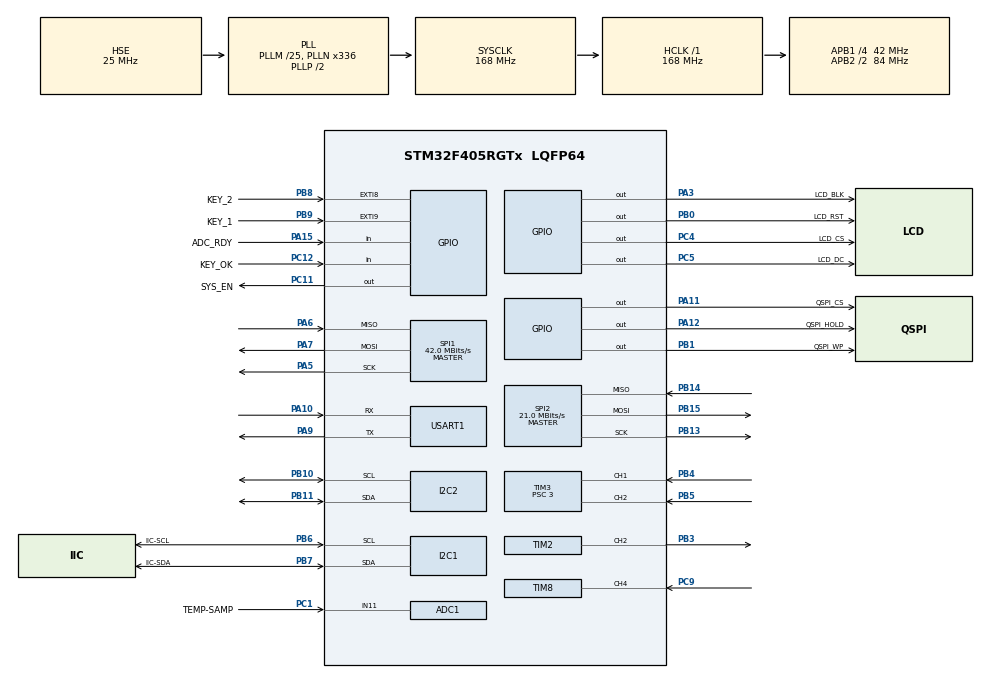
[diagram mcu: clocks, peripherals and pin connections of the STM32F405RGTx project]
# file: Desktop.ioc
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ADC1.Channel-0\#ChannelRegularConversion=ADC_CHANNEL_11
ADC1.ContinuousConvMode=ENABLE
ADC1.NbrOfConversion=1
ADC1.NbrOfConversionFlag=1
ADC1.Rank-0\#ChannelRegularConversion=1
ADC1.SamplingTime-0\#ChannelRegularConversion=ADC_SAMPLETIME_84CYCLES
ADC1.ScanConvMode=ENABLE
ADC1.master=1
FREERTOS.Tasks01=defaultTask,0,128,StartDefaultTask,Default,NULL,Dynamic,NULL,NULL;lv_task,-3,256,Startlv_task,Default,NULL,Dynamic,NULL,NULL;encoder,-3,256,Startencoder,Default,NULL,Dynamic,NULL,NULL;KEY,1,256,StartKEY,Default,NULL,Dynamic,NULL,NULL;Time,-3,256,StartTime,Default,NULL,Dynamic,NULL,NULL;Fan_speed,-3,256,StartFan_speed,Default,NULL,Dynamic,NULL,NULL;Temp,-3,256,StartTemp,Default,NULL,Dynamic,NULL,NULL;display,-3,256,Startdisplay,Default,NULL,Dynamic,NULL,NULL;ads1115_value,-3,256,Startads1115_value,Default,NULL,Dynamic,NULL,NULL
I2C1.I2C_Mode=I2C_Fast
Mcu.Family=STM32F4
Mcu.Name=STM32F405RGTx
Mcu.Package=LQFP64
NVIC.ADC_IRQn=true\:5\:0\:false\:false\:true\:true\:true\:true
NVIC.EXTI9_5_IRQn=true\:5\:0\:true\:false\:true\:true\:true\:true
NVIC.PriorityGroup=NVIC_PRIORITYGROUP_4
NVIC.TIM1_UP_TIM10_IRQn=true\:15\:0\:false\:false\:true\:false\:false\:true
NVIC.TIM6_DAC_IRQn=true\:5\:0\:false\:false\:true\:true\:true\:true
NVIC.TIM8_CC_IRQn=true\:5\:0\:false\:false\:true\:true\:true\:true
NVIC.TimeBase=TIM1_UP_TIM10_IRQn
NVIC.TimeBaseIP=TIM1
PA10.Mode=Asynchronous
PA10.Signal=USART1_RX
PA11.GPIO_Label=QSPI_CS
PA11.Signal=GPIO_Output
PA12.GPIO_Label=QSPI_HOLD
PA12.PinState=GPIO_PIN_SET
PA12.Signal=GPIO_Output
PA15.GPIO_Label=ADC_RDY
PA15.GPIO_PuPd=GPIO_PULLDOWN
PA15.Signal=GPIO_Input
PA3.GPIO_Label=LCD_BLK
PA3.GPIO_PuPd=GPIO_PULLDOWN
PA3.GPIO_Speed=GPIO_SPEED_FREQ_VERY_HIGH
PA3.Signal=GPIO_Output
PA5.Mode=Full_Duplex_Master
PA5.Signal=SPI1_SCK
PA6.Mode=Full_Duplex_Master
PA6.Signal=SPI1_MISO
PA7.Mode=Full_Duplex_Master
PA7.Signal=SPI1_MOSI
PA9.Mode=Asynchronous
PA9.Signal=USART1_TX
PB0.GPIO_Label=LCD_RST
PB0.GPIO_Speed=GPIO_SPEED_FREQ_VERY_HIGH
PB0.Signal=GPIO_Output
PB1.GPIO_Label=QSPI_WP
PB1.PinState=GPIO_PIN_SET
PB1.Signal=GPIO_Output
PB10.Mode=I2C
PB10.Signal=I2C2_SCL
PB11.Mode=I2C
PB11.Signal=I2C2_SDA
PB13.Mode=Full_Duplex_Master
PB13.Signal=SPI2_SCK
PB14.Mode=Full_Duplex_Master
PB14.Signal=SPI2_MISO
PB15.Mode=Full_Duplex_Master
PB15.Signal=SPI2_MOSI
PB3.Signal=S_TIM2_CH2
PB4.GPIO_PuPd=GPIO_PULLUP
PB4.Signal=S_TIM3_CH1
PB5.GPIO_PuPd=GPIO_PULLUP
PB5.Signal=S_TIM3_CH2
PB6.GPIO_Label=IIC-SCL
PB6.Mode=I2C
PB6.Signal=I2C1_SCL
PB7.GPIO_Label=IIC-SDA
PB7.Mode=I2C
PB7.Signal=I2C1_SDA
PB8.GPIO_Label=KEY_2
PB8.GPIO_ModeDefaultEXTI=GPIO_MODE_IT_FALLING
PB8.GPIO_PuPd=GPIO_PULLUP
PB8.Signal=GPXTI8
PB9.GPIO_Label=KEY_1
PB9.GPIO_ModeDefaultEXTI=GPIO_MODE_IT_FALLING
PB9.GPIO_PuPd=GPIO_PULLUP
PB9.Signal=GPXTI9
PC1.GPIO_Label=TEMP-SAMP
PC1.Signal=ADCx_IN11
PC11.GPIO_Label=SYS_EN
PC11.Signal=GPIO_Output
PC12.GPIO_Label=KEY_OK
PC12.GPIO_PuPd=GPIO_PULLUP
PC12.Signal=GPIO_Input
PC4.GPIO_Label=LCD_CS
PC4.GPIO_PuPd=GPIO_PULLDOWN
PC4.GPIO_Speed=GPIO_SPEED_FREQ_VERY_HIGH
PC4.Signal=GPIO_Output
PC5.GPIO_Label=LCD_DC
PC5.GPIO_PuPd=GPIO_PULLDOWN
PC5.GPIO_Speed=GPIO_SPEED_FREQ_VERY_HIGH
PC5.Signal=GPIO_Output
PC9.GPIO_ModeDefaultPP=GPIO_MODE_AF_PP
PC9.GPIO_PuPd=GPIO_PULLUP
PC9.Signal=S_TIM8_CH4
PH0-OSC_IN.Mode=HSE-External-Oscillator
PH0-OSC_IN.Signal=RCC_OSC_IN
PH1-OSC_OUT.Mode=HSE-External-Oscillator
PH1-OSC_OUT.Signal=RCC_OSC_OUT
ProjectManager.HeapSize=0x200
ProjectManager.StackSize=0x400
ProjectManager.TargetToolchain=MDK-ARM V5.32
RCC.48MHZClocksFreq_Value=84000000
RCC.AHBFreq_Value=168000000
RCC.APB1CLKDivider=RCC_HCLK_DIV4
RCC.APB1Freq_Value=42000000
RCC.APB1TimFreq_Value=84000000
RCC.APB2CLKDivider=RCC_HCLK_DIV2
RCC.APB2Freq_Value=84000000
RCC.APB2TimFreq_Value=168000000
RCC.CortexFreq_Value=168000000
RCC.HCLKFreq_Value=168000000
RCC.HSE_VALUE=25000000
RCC.HSI_VALUE=16000000
RCC.LSE_VALUE=32768
RCC.PLLM=25
RCC.PLLN=336
RCC.PLLSourceVirtual=RCC_PLLSOURCE_HSE
RCC.SYSCLKFreq_VALUE=168000000
RCC.SYSCLKSource=RCC_SYSCLKSOURCE_PLLCLK
RCC.VCOOutputFreq_Value=336000000
SH.ADCx_IN11.0=ADC1_IN11,IN11
SH.S_TIM2_CH2.0=TIM2_CH2,PWM Generation2 CH2
SH.S_TIM3_CH1.0=TIM3_CH1,Encoder_Interface
SH.S_TIM3_CH2.0=TIM3_CH2,Encoder_Interface
SH.S_TIM8_CH4.0=TIM8_CH4,Input_Capture4_from_TI4
SPI1.BaudRatePrescaler=SPI_BAUDRATEPRESCALER_2
SPI1.CLKPhase=SPI_PHASE_1EDGE
SPI1.CLKPolarity=SPI_POLARITY_LOW
SPI1.CalculateBaudRate=42.0 MBits/s
SPI1.DataSize=SPI_DATASIZE_8BIT
SPI1.Direction=SPI_DIRECTION_2LINES
SPI1.Mode=SPI_MODE_MASTER
SPI1.VirtualType=VM_MASTER
SPI2.CalculateBaudRate=21.0 MBits/s
SPI2.Direction=SPI_DIRECTION_2LINES
SPI2.Mode=SPI_MODE_MASTER
SPI2.VirtualType=VM_MASTER
TIM2.Channel-PWM\ Generation2\ CH2=TIM_CHANNEL_2
TIM2.Period=139
TIM2.Prescaler=23
TIM3.EncoderMode=TIM_ENCODERMODE_TI12
TIM3.Prescaler=3
TIM6.AutoReloadPreload=TIM_AUTORELOAD_PRELOAD_ENABLE
TIM6.Period=199
TIM6.Prescaler=419
TIM8.AutoReloadPreload=TIM_AUTORELOAD_PRELOAD_ENABLE
TIM8.Channel-Input_Capture4_from_TI4=TIM_CHANNEL_4
TIM8.ICPolarity_CH4=TIM_INPUTCHANNELPOLARITY_FALLING
TIM8.Period=65535
TIM8.Prescaler=167
USART1.VirtualMode=VM_ASYNC
VP_FREERTOS_VS_CMSIS_V1.Mode=CMSIS_V1
VP_RTC_VS_RTC_Activate.Mode=RTC_Enabled
VP_RTC_VS_RTC_Calendar.Mode=RTC_Calendar
VP_SYS_VS_tim1.Mode=TIM1
VP_TIM2_VS_ClockSourceINT.Mode=Internal
VP_TIM6_VS_ClockSourceINT.Mode=Enable_Timer
VP_TIM8_VS_ClockSourceINT.Mode=Internal
board=custom

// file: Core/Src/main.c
/* USER CODE BEGIN Header */
/**
  ******************************************************************************
  * @file           : main.c
  * @brief          : Main program body
  ******************************************************************************
  * @attention
  *
  * Copyright (c) 2022 STMicroelectronics.
  * All rights reserved.
  *
  * This software is licensed under terms that can be found in the LICENSE file
  * in the root directory of this software component.
  * If no LICENSE file comes with this software, it is provided AS-IS.
  *
  ******************************************************************************
  */
/* USER CODE END Header */
#include "main.h"
#include "cmsis_os.h"
#include "adc.h"
#include "i2c.h"
#include "rtc.h"
#include "spi.h"
#include "tim.h"
#include "usart.h"
#include "gpio.h"

/* USER CODE BEGIN Includes */
#include "w25qxx.h"
#include "temp.h"
#include "encoder.h"
#include "24c02.h"
#include "ILI9341.h"
#include "lcd.h"
#include "fan_speed.h"
#include "ADS1115.h"
#include "MCP4725.h"
#include "PID.h"

#include "lvgl.h"
#include "lv_port_disp.h"
#include "lv_obj_my.h"
#include "key.h"
#include "rtc_time.h"
/* USER CODE END Includes */

void SystemClock_Config(void);
void MX_FREERTOS_Init(void);

int main(void)
{

  /* MCU Configuration--------------------------------------------------------*/

  /* Reset of all peripherals, Initializes the Flash interface and the Systick. */
  HAL_Init();

  /* Configure the system clock */
  SystemClock_Config();

  /* Initialize all configured peripherals */
  MX_GPIO_Init();
  MX_ADC1_Init();
  MX_I2C2_Init();
  MX_SPI1_Init();
  MX_SPI2_Init();
  MX_USART1_UART_Init();
  MX_TIM2_Init();
  MX_TIM3_Init();
  MX_TIM8_Init();
  MX_TIM6_Init();
  MX_I2C1_Init();
  MX_RTC_Init();
  /* USER CODE BEGIN 2 */
	Temp_Init();
	HAL_TIM_Base_Start_IT(&htim6);
	ENCODER_Init();
	W25QXX_Init();
	LCD_Init();
	Fan_speed_init();
	PID_Init();

	lv_init(); //初始化littleVGL
	lv_port_disp_init(); //初始化显示库
	Background_display();
	Mode_Obj_set();
	Mode_obj_display_init();
	ON_OR_OFF_Display_Init();
	Select_area_flashing_init();
	TEXT_display();
	Power_or_Bat_display_init();
	Unit_switching_init();
	Mode_display_init();
	Set_display_init();
	Current_display_init();
	voltage_display_init();
	power_display_init();
	Icon_display();
	Run_Time_Init();
	Temp_display_init();
	Current_setting_display_init();
	Init_display_mode();
	FAN_speed_display_init();

  /* USER CODE END 2 */

  /* Call init function for freertos objects (in freertos.c) */
  MX_FREERTOS_Init();
  /* Start scheduler */
  osKernelStart();

  /* We should never get here as control is now taken by the scheduler */
  /* Infinite loop */
  /* USER CODE BEGIN WHILE */
  while (1)
  {
//		lv_task_handler();
//		encoder_read();
//		KEY_sweep();
//		GET_Time();
//		Fan_speed_read();
//		Temp_read();
//		Voltage_Current_display();
//		ads1115_value_read();
    /* USER CODE END WHILE */

  }
}

void SystemClock_Config(void)
{
  RCC_OscInitTypeDef RCC_OscInitStruct = {0};
  RCC_ClkInitTypeDef RCC_ClkInitStruct = {0};

  /** Configure the main internal regulator output voltage
  */
  __HAL_RCC_PWR_CLK_ENABLE();
  __HAL_PWR_VOLTAGESCALING_CONFIG(PWR_REGULATOR_VOLTAGE_SCALE1);
  /** Initializes the RCC Oscillators according to the specified parameters
  * in the RCC_OscInitTypeDef structure.
  */
  RCC_OscInitStruct.OscillatorType = RCC_OSCILLATORTYPE_LSI|RCC_OSCILLATORTYPE_HSE;
  RCC_OscInitStruct.HSEState = RCC_HSE_ON;
  RCC_OscInitStruct.LSIState = RCC_LSI_ON;
  RCC_OscInitStruct.PLL.PLLState = RCC_PLL_ON;
  RCC_OscInitStruct.PLL.PLLSource = RCC_PLLSOURCE_HSE;
  RCC_OscInitStruct.PLL.PLLM = 25;
  RCC_OscInitStruct.PLL.PLLN = 336;
  RCC_OscInitStruct.PLL.PLLP = RCC_PLLP_DIV2;
  RCC_OscInitStruct.PLL.PLLQ = 4;
  if (HAL_RCC_OscConfig(&RCC_OscInitStruct) != HAL_OK)
  {
    Error_Handler();
  }
  /** Initializes the CPU, AHB and APB buses clocks
  */
  RCC_ClkInitStruct.ClockType = RCC_CLOCKTYPE_HCLK|RCC_CLOCKTYPE_SYSCLK
                              |RCC_CLOCKTYPE_PCLK1|RCC_CLOCKTYPE_PCLK2;
  RCC_ClkInitStruct.SYSCLKSource = RCC_SYSCLKSOURCE_PLLCLK;
  RCC_ClkInitStruct.AHBCLKDivider = RCC_SYSCLK_DIV1;
  RCC_ClkInitStruct.APB1CLKDivider = RCC_HCLK_DIV4;
  RCC_ClkInitStruct.APB2CLKDivider = RCC_HCLK_DIV2;

  if (HAL_RCC_ClockConfig(&RCC_ClkInitStruct, FLASH_LATENCY_5) != HAL_OK)
  {
    Error_Handler();
  }
}

void HAL_TIM_PeriodElapsedCallback(TIM_HandleTypeDef *htim)
{
  if (htim->Instance == TIM1) {
    HAL_IncTick();
  }
}

void Error_Handler(void)
{
  __disable_irq();
  while (1)
  {
  }
}

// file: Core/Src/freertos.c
/* USER CODE BEGIN Header */
/**
  ******************************************************************************
  * File Name          : freertos.c
  * Description        : Code for freertos applications
  ******************************************************************************
  * @attention
  *
  * Copyright (c) 2022 STMicroelectronics.
  * All rights reserved.
  *
  * This software is licensed under terms that can be found in the LICENSE file
  * in the root directory of this software component.
  * If no LICENSE file comes with this software, it is provided AS-IS.
  *
  ******************************************************************************
  */
/* USER CODE END Header */

#include "FreeRTOS.h"
#include "task.h"
#include "main.h"
#include "cmsis_os.h"

/* USER CODE BEGIN Includes */

#include "w25qxx.h"
#include "temp.h"
#include "encoder.h"
#include "24c02.h"
#include "ILI9341.h"
#include "lcd.h"
#include "fan_speed.h"
#include "ADS1115.h"
#include "MCP4725.h"
#include "PID.h"
#include "usart.h"

#include "lvgl.h"
#include "lv_port_disp.h"
#include "lv_obj_my.h"
#include "key.h"
#include "rtc_time.h"

/* USER CODE END Includes */

osThreadId defaultTaskHandle;
osThreadId lv_taskHandle;
osThreadId encoderHandle;
osThreadId KEYHandle;
osThreadId TimeHandle;
osThreadId Fan_speedHandle;
osThreadId TempHandle;
osThreadId displayHandle;
osThreadId ads1115_valueHandle;

void StartDefaultTask(void const * argument);
void Startlv_task(void const * argument);
void Startencoder(void const * argument);
void StartKEY(void const * argument);
void StartTime(void const * argument);
void StartFan_speed(void const * argument);
void StartTemp(void const * argument);
void Startdisplay(void const * argument);
void Startads1115_value(void const * argument);

void MX_FREERTOS_Init(void); /* (MISRA C 2004 rule 8.1) */

/* GetIdleTaskMemory prototype (linked to static allocation support) */
void vApplicationGetIdleTaskMemory( StaticTask_t **ppxIdleTaskTCBBuffer, StackType_t **ppxIdleTaskStackBuffer, uint32_t *pulIdleTaskStackSize );

/* USER CODE BEGIN GET_IDLE_TASK_MEMORY */
static StaticTask_t xIdleTaskTCBBuffer;
static StackType_t xIdleStack[configMINIMAL_STACK_SIZE];

void vApplicationGetIdleTaskMemory( StaticTask_t **ppxIdleTaskTCBBuffer, StackType_t **ppxIdleTaskStackBuffer, uint32_t *pulIdleTaskStackSize )
{
  *ppxIdleTaskTCBBuffer = &xIdleTaskTCBBuffer;
  *ppxIdleTaskStackBuffer = &xIdleStack[0];
  *pulIdleTaskStackSize = configMINIMAL_STACK_SIZE;
  /* place for user code */
}
/* USER CODE END GET_IDLE_TASK_MEMORY */

void MX_FREERTOS_Init(void) {

  /* Create the thread(s) */
  /* definition and creation of defaultTask */
  osThreadDef(defaultTask, StartDefaultTask, osPriorityNormal, 0, 128);
  defaultTaskHandle = osThreadCreate(osThread(defaultTask), NULL);

  /* definition and creation of lv_task */
  osThreadDef(lv_task, Startlv_task, osPriorityIdle, 0, 256);
  lv_taskHandle = osThreadCreate(osThread(lv_task), NULL);

  /* definition and creation of encoder */
  osThreadDef(encoder, Startencoder, osPriorityIdle, 0, 256);
  encoderHandle = osThreadCreate(osThread(encoder), NULL);

  /* definition and creation of KEY */
  osThreadDef(KEY, StartKEY, osPriorityAboveNormal, 0, 256);
  KEYHandle = osThreadCreate(osThread(KEY), NULL);

  /* definition and creation of Time */
  osThreadDef(Time, StartTime, osPriorityIdle, 0, 256);
  TimeHandle = osThreadCreate(osThread(Time), NULL);

  /* definition and creation of Fan_speed */
  osThreadDef(Fan_speed, StartFan_speed, osPriorityIdle, 0, 256);
  Fan_speedHandle = osThreadCreate(osThread(Fan_speed), NULL);

  /* definition and creation of Temp */
  osThreadDef(Temp, StartTemp, osPriorityIdle, 0, 256);
  TempHandle = osThreadCreate(osThread(Temp), NULL);

  /* definition and creation of display */
  osThreadDef(display, Startdisplay, osPriorityIdle, 0, 256);
  displayHandle = osThreadCreate(osThread(display), NULL);

  /* definition and creation of ads1115_value */
  osThreadDef(ads1115_value, Startads1115_value, osPriorityIdle, 0, 256);
  ads1115_valueHandle = osThreadCreate(osThread(ads1115_value), NULL);

}

void StartDefaultTask(void const * argument)
{
  for(;;)
  {
    osDelay(1);
  }
}

void Startlv_task(void const * argument)
{
  /* USER CODE BEGIN Startlv_task */
  /* Infinite loop */
  for(;;)
  {
		lv_task_handler();
    osDelay(1);
  }
  /* USER CODE END Startlv_task */
}

void Startencoder(void const * argument)
{
  /* USER CODE BEGIN Startencoder */
  /* Infinite loop */
  for(;;)
  {
		encoder_read();
    osDelay(1);
  }
  /* USER CODE END Startencoder */
}

void StartKEY(void const * argument)
{
  /* USER CODE BEGIN StartKEY */
  /* Infinite loop */
  for(;;)
  {
		KEY_sweep();
    osDelay(1);
  }
  /* USER CODE END StartKEY */
}

void StartTime(void const * argument)
{
  /* USER CODE BEGIN StartTime */
  /* Infinite loop */
  for(;;)
  {
		GET_Time();
    osDelay(1);
  }
  /* USER CODE END StartTime */
}

void StartFan_speed(void const * argument)
{
  /* USER CODE BEGIN StartFan_speed */
  /* Infinite loop */
  for(;;)
  {
		Fan_speed_read();
    osDelay(1);
  }
  /* USER CODE END StartFan_speed */
}

void StartTemp(void const * argument)
{
  /* USER CODE BEGIN StartTemp */
  /* Infinite loop */
  for(;;)
  {
		Temp_read();
    osDelay(1);
  }
  /* USER CODE END StartTemp */
}

void Startdisplay(void const * argument)
{
  /* USER CODE BEGIN Startdisplay */
  /* Infinite loop */
  for(;;)
  {
		Voltage_Current_display();
    osDelay(1);
  }
  /* USER CODE END Startdisplay */
}

void Startads1115_value(void const * argument)
{
  /* USER CODE BEGIN Startads1115_value */
  /* Infinite loop */
  for(;;)
  {
		ads1115_value_read();
    osDelay(1);
  }
  /* USER CODE END Startads1115_value */
}
